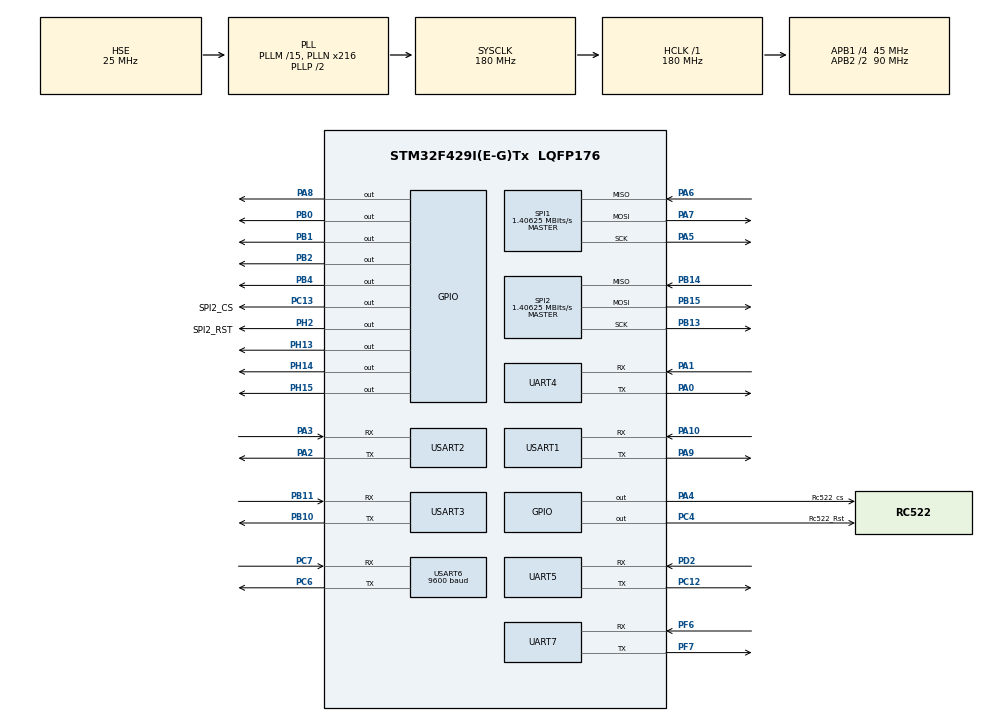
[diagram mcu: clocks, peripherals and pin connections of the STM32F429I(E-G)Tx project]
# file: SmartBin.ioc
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Dma.Request0=USART2_RX
Dma.Request1=USART3_RX
Dma.Request2=USART6_RX
Dma.Request3=UART4_RX
Dma.Request4=UART7_RX
Dma.Request5=UART5_RX
Dma.UART4_RX.3.Direction=DMA_PERIPH_TO_MEMORY
Dma.UART4_RX.3.FIFOMode=DMA_FIFOMODE_DISABLE
Dma.UART4_RX.3.Instance=DMA1_Stream2
Dma.UART4_RX.3.MemDataAlignment=DMA_MDATAALIGN_BYTE
Dma.UART4_RX.3.MemInc=DMA_MINC_ENABLE
Dma.UART4_RX.3.Mode=DMA_NORMAL
Dma.UART4_RX.3.PeriphDataAlignment=DMA_PDATAALIGN_BYTE
Dma.UART4_RX.3.PeriphInc=DMA_PINC_DISABLE
Dma.UART4_RX.3.Priority=DMA_PRIORITY_LOW
Dma.UART5_RX.5.Direction=DMA_PERIPH_TO_MEMORY
Dma.UART5_RX.5.FIFOMode=DMA_FIFOMODE_DISABLE
Dma.UART5_RX.5.Instance=DMA1_Stream0
Dma.UART5_RX.5.MemDataAlignment=DMA_MDATAALIGN_BYTE
Dma.UART5_RX.5.MemInc=DMA_MINC_ENABLE
Dma.UART5_RX.5.Mode=DMA_NORMAL
Dma.UART5_RX.5.PeriphDataAlignment=DMA_PDATAALIGN_BYTE
Dma.UART5_RX.5.PeriphInc=DMA_PINC_DISABLE
Dma.UART5_RX.5.Priority=DMA_PRIORITY_LOW
Dma.UART7_RX.4.Direction=DMA_PERIPH_TO_MEMORY
Dma.UART7_RX.4.FIFOMode=DMA_FIFOMODE_DISABLE
Dma.UART7_RX.4.Instance=DMA1_Stream3
Dma.UART7_RX.4.MemDataAlignment=DMA_MDATAALIGN_BYTE
Dma.UART7_RX.4.MemInc=DMA_MINC_ENABLE
Dma.UART7_RX.4.Mode=DMA_NORMAL
Dma.UART7_RX.4.PeriphDataAlignment=DMA_PDATAALIGN_BYTE
Dma.UART7_RX.4.PeriphInc=DMA_PINC_DISABLE
Dma.UART7_RX.4.Priority=DMA_PRIORITY_LOW
Dma.USART2_RX.0.Direction=DMA_PERIPH_TO_MEMORY
Dma.USART2_RX.0.FIFOMode=DMA_FIFOMODE_DISABLE
Dma.USART2_RX.0.Instance=DMA1_Stream5
Dma.USART2_RX.0.MemDataAlignment=DMA_MDATAALIGN_BYTE
Dma.USART2_RX.0.MemInc=DMA_MINC_ENABLE
Dma.USART2_RX.0.Mode=DMA_NORMAL
Dma.USART2_RX.0.PeriphDataAlignment=DMA_PDATAALIGN_BYTE
Dma.USART2_RX.0.PeriphInc=DMA_PINC_DISABLE
Dma.USART2_RX.0.Priority=DMA_PRIORITY_LOW
Dma.USART3_RX.1.Direction=DMA_PERIPH_TO_MEMORY
Dma.USART3_RX.1.FIFOMode=DMA_FIFOMODE_DISABLE
Dma.USART3_RX.1.Instance=DMA1_Stream1
Dma.USART3_RX.1.MemDataAlignment=DMA_MDATAALIGN_BYTE
Dma.USART3_RX.1.MemInc=DMA_MINC_ENABLE
Dma.USART3_RX.1.Mode=DMA_NORMAL
Dma.USART3_RX.1.PeriphDataAlignment=DMA_PDATAALIGN_BYTE
Dma.USART3_RX.1.PeriphInc=DMA_PINC_DISABLE
Dma.USART3_RX.1.Priority=DMA_PRIORITY_LOW
Dma.USART6_RX.2.Direction=DMA_PERIPH_TO_MEMORY
Dma.USART6_RX.2.FIFOMode=DMA_FIFOMODE_DISABLE
Dma.USART6_RX.2.Instance=DMA2_Stream1
Dma.USART6_RX.2.MemDataAlignment=DMA_MDATAALIGN_BYTE
Dma.USART6_RX.2.MemInc=DMA_MINC_ENABLE
Dma.USART6_RX.2.Mode=DMA_NORMAL
Dma.USART6_RX.2.PeriphDataAlignment=DMA_PDATAALIGN_BYTE
Dma.USART6_RX.2.PeriphInc=DMA_PINC_DISABLE
Dma.USART6_RX.2.Priority=DMA_PRIORITY_LOW
FREERTOS.Tasks01=comtask,24,2048,com_task,Default,NULL,Dynamic,NULL,NULL;systemtask,28,2048,system_task,Default,NULL,Dynamic,NULL,NULL;rec_data_task,32,2048,recdatatask,Default,NULL,Dynamic,NULL,NULL;sensortask,24,1024,sensor_task,Default,NULL,Dynamic,NULL,NULL
FREERTOS.configGENERATE_RUN_TIME_STATS=1
FREERTOS.configMAX_TASK_NAME_LEN=20
FREERTOS.configMINIMAL_STACK_SIZE=1024
FREERTOS.configTOTAL_HEAP_SIZE=40000
FREERTOS.configUSE_STATS_FORMATTING_FUNCTIONS=1
IWDG.Prescaler=IWDG_PRESCALER_256
Mcu.Family=STM32F4
Mcu.Name=STM32F429I(E-G)Tx
Mcu.Package=LQFP176
NVIC.DMA1_Stream0_IRQn=true\:5\:0\:false\:false\:true\:true\:false\:true
NVIC.DMA1_Stream1_IRQn=true\:5\:0\:false\:true\:true\:1\:true\:false\:true
NVIC.DMA1_Stream2_IRQn=true\:5\:0\:false\:true\:true\:2\:true\:false\:true
NVIC.DMA1_Stream3_IRQn=true\:5\:0\:false\:false\:true\:true\:false\:true
NVIC.DMA1_Stream5_IRQn=true\:5\:0\:false\:true\:true\:3\:true\:false\:true
NVIC.DMA2_Stream1_IRQn=true\:5\:0\:false\:true\:true\:7\:true\:false\:true
NVIC.PriorityGroup=NVIC_PRIORITYGROUP_4
NVIC.TIM1_UP_TIM10_IRQn=true\:0\:0\:false\:false\:true\:false\:false\:true
NVIC.TIM6_DAC_IRQn=true\:5\:0\:false\:true\:true\:11\:true\:true\:true
NVIC.TimeBase=TIM1_UP_TIM10_IRQn
NVIC.TimeBaseIP=TIM1
NVIC.UART4_IRQn=true\:5\:0\:false\:true\:true\:6\:true\:true\:true
NVIC.UART5_IRQn=true\:5\:0\:false\:true\:true\:10\:true\:true\:true
NVIC.UART7_IRQn=true\:5\:0\:false\:true\:true\:9\:true\:true\:true
NVIC.USART1_IRQn=true\:5\:0\:false\:false\:true\:true\:true\:true
NVIC.USART2_IRQn=true\:5\:0\:false\:true\:true\:4\:true\:true\:true
NVIC.USART3_IRQn=true\:5\:0\:false\:true\:true\:5\:true\:true\:true
NVIC.USART6_IRQn=true\:5\:0\:false\:true\:true\:8\:true\:true\:true
PA0/WKUP.Mode=Asynchronous
PA0/WKUP.Signal=UART4_TX
PA1.Mode=Asynchronous
PA1.Signal=UART4_RX
PA10.Mode=Asynchronous
PA10.Signal=USART1_RX
PA13.Mode=Serial_Wire
PA13.Signal=SYS_JTMS-SWDIO
PA14.Mode=Serial_Wire
PA14.Signal=SYS_JTCK-SWCLK
PA2.Mode=Asynchronous
PA2.Signal=USART2_TX
PA3.Mode=Asynchronous
PA3.Signal=USART2_RX
PA4.GPIO_Label=Rc522_cs
PA4.Signal=GPIO_Output
PA5.Mode=Full_Duplex_Master
PA5.Signal=SPI1_SCK
PA6.Mode=Full_Duplex_Master
PA6.Signal=SPI1_MISO
PA7.Mode=Full_Duplex_Master
PA7.Signal=SPI1_MOSI
PA8.Signal=GPIO_Output
PA9.GPIO_Speed=GPIO_SPEED_FREQ_HIGH
PA9.Mode=Asynchronous
PA9.Signal=USART1_TX
PB0.Signal=GPIO_Output
PB1.Signal=GPIO_Output
PB10.Mode=Asynchronous
PB10.Signal=USART3_TX
PB11.Mode=Asynchronous
PB11.Signal=USART3_RX
PB13.Mode=Full_Duplex_Master
PB13.Signal=SPI2_SCK
PB14.Mode=Full_Duplex_Master
PB14.Signal=SPI2_MISO
PB15.Mode=Full_Duplex_Master
PB15.Signal=SPI2_MOSI
PB2/BOOT1.Signal=GPIO_Output
PB4.Signal=GPIO_Output
PC12.Mode=Asynchronous
PC12.Signal=UART5_TX
PC13.GPIO_Label=SPI2_CS
PC13.Signal=GPIO_Output
PC14/OSC32_IN.Mode=LSE-External-Oscillator
PC14/OSC32_IN.Signal=RCC_OSC32_IN
PC15/OSC32_OUT.Mode=LSE-External-Oscillator
PC15/OSC32_OUT.Signal=RCC_OSC32_OUT
PC4.GPIO_Label=Rc522_Rst
PC4.Signal=GPIO_Output
PC6.Mode=Asynchronous
PC6.Signal=USART6_TX
PC7.Mode=Asynchronous
PC7.Signal=USART6_RX
PD2.Mode=Asynchronous
PD2.Signal=UART5_RX
PF6.Mode=Asynchronous
PF6.Signal=UART7_RX
PF7.Mode=Asynchronous
PF7.Signal=UART7_TX
PH0/OSC_IN.Mode=HSE-External-Oscillator
PH0/OSC_IN.Signal=RCC_OSC_IN
PH1/OSC_OUT.Mode=HSE-External-Oscillator
PH1/OSC_OUT.Signal=RCC_OSC_OUT
PH13.Signal=GPIO_Output
PH14.Signal=GPIO_Output
PH15.Signal=GPIO_Output
PH2.GPIO_Label=SPI2_RST
PH2.Signal=GPIO_Output
ProjectManager.HeapSize=0x200
ProjectManager.StackSize=0x400
ProjectManager.TargetToolchain=MDK-ARM V5
RCC.48MHZClocksFreq_Value=90000000
RCC.AHBFreq_Value=180000000
RCC.APB1CLKDivider=RCC_HCLK_DIV4
RCC.APB1Freq_Value=45000000
RCC.APB1TimFreq_Value=90000000
RCC.APB2CLKDivider=RCC_HCLK_DIV2
RCC.APB2Freq_Value=90000000
RCC.APB2TimFreq_Value=180000000
RCC.CortexFreq_Value=180000000
RCC.EnbaleCSS=true
RCC.HCLKFreq_Value=180000000
RCC.HSE_VALUE=25000000
RCC.HSI_VALUE=16000000
RCC.PLLM=15
RCC.PLLN=216
RCC.PLLSourceVirtual=RCC_PLLSOURCE_HSE
RCC.RCC_RTC_Clock_Source=RCC_RTCCLKSOURCE_LSE
RCC.RCC_RTC_Clock_SourceVirtual=RCC_RTCCLKSOURCE_LSE
RCC.SYSCLKFreq_VALUE=180000000
RCC.SYSCLKSource=RCC_SYSCLKSOURCE_PLLCLK
RCC.VCOOutputFreq_Value=360000000
SPI1.BaudRatePrescaler=SPI_BAUDRATEPRESCALER_64
SPI1.CalculateBaudRate=1.40625 MBits/s
SPI1.Direction=SPI_DIRECTION_2LINES
SPI1.Mode=SPI_MODE_MASTER
SPI1.VirtualType=VM_MASTER
SPI2.BaudRatePrescaler=SPI_BAUDRATEPRESCALER_32
SPI2.CalculateBaudRate=1.40625 MBits/s
SPI2.Direction=SPI_DIRECTION_2LINES
SPI2.Mode=SPI_MODE_MASTER
SPI2.VirtualType=VM_MASTER
TIM6.Period=99
TIM6.Prescaler=89
UART4.VirtualMode=Asynchronous
UART5.VirtualMode=Asynchronous
UART7.VirtualMode=Asynchronous
USART1.OverSampling=UART_OVERSAMPLING_16
USART1.VirtualMode=VM_ASYNC
USART2.VirtualMode=VM_ASYNC
USART3.VirtualMode=VM_ASYNC
USART6.BaudRate=9600
USART6.VirtualMode=VM_ASYNC
VP_FREERTOS_VS_CMSIS_V2.Mode=CMSIS_V2
VP_IWDG_VS_IWDG.Mode=IWDG_Activate
VP_RTC_VS_RTC_Activate.Mode=RTC_Enabled
VP_SYS_VS_tim1.Mode=TIM1
VP_TIM6_VS_ClockSourceINT.Mode=Enable_Timer
board=custom

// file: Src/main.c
/* USER CODE BEGIN Header */
/**
  ******************************************************************************
  * @file           : main.c
  * @brief          : Main program body
  ******************************************************************************
  * @attention
  *
  * <h2><center>&copy; Copyright (c) 2019 STMicroelectronics.
  * All rights reserved.</center></h2>
  *
  * This software component is licensed by ST under Ultimate Liberty license
  * SLA0044, the "License"; You may not use this file except in compliance with
  * the License. You may obtain a copy of the License at:
  *                             www.st.com/SLA0044
  *
  ******************************************************************************
  */
/* USER CODE END Header */

#include "main.h"
#include "cmsis_os.h"
#include "dma.h"
#include "iwdg.h"
#include "rtc.h"
#include "spi.h"
#include "tim.h"
#include "usart.h"
#include "gpio.h"

/* USER CODE BEGIN Includes */
#include "stdio.h"
#include "bsp_print.h"
#include "bsp_scaner.h"
#include "bsp_weight.h"
#include "bsp_rc522.h"
/* USER CODE END Includes */

void SystemClock_Config(void);
void MX_FREERTOS_Init(void);
static void MX_NVIC_Init(void);

/* USER CODE BEGIN 0 */
extern USART_RECEIVETYPE  UsartType3;
/* USER CODE END 0 */

int main(void)
{

  /* MCU Configuration--------------------------------------------------------*/

  /* Reset of all peripherals, Initializes the Flash interface and the Systick. */
  HAL_Init();

  /* Configure the system clock */
  SystemClock_Config();

  /* Initialize all configured peripherals */
  MX_GPIO_Init();
  MX_DMA_Init();
  MX_RTC_Init();
  MX_SPI1_Init();
  MX_UART4_Init();
  MX_USART1_UART_Init();
  MX_USART2_UART_Init();
  MX_USART3_UART_Init();
  MX_USART6_UART_Init();
  MX_SPI2_Init();
  MX_UART5_Init();
  MX_UART7_Init();
  MX_IWDG_Init();
  MX_TIM6_Init();

  /* Initialize interrupts */
  MX_NVIC_Init();
  /* USER CODE BEGIN 2 */
	 DMA_USART2_IDLE_INIT();
	 DMA_USART3_IDLE_INIT();
	 DMA_USART6_IDLE_INIT();
	 test_rc522_init();
//    HAL_Delay(5000);//等待4G模板稳定
//HAL_TIM_Base_Start_IT(&htim6);
//	 gsm_zhuce(&UsartType3.RX_flag,UsartType3.RX_pData);
  /* USER CODE END 2 */

  /* Call init function for freertos objects (in freertos.c) */
  MX_FREERTOS_Init();

  /* Start scheduler */
  osKernelStart();

  /* We should never get here as control is now taken by the scheduler */

  /* Infinite loop */
  while (1)
  {

  }
}

void SystemClock_Config(void)
{
  RCC_OscInitTypeDef RCC_OscInitStruct = {0};
  RCC_ClkInitTypeDef RCC_ClkInitStruct = {0};
  RCC_PeriphCLKInitTypeDef PeriphClkInitStruct = {0};

  /** Configure the main internal regulator output voltage
  */
  __HAL_RCC_PWR_CLK_ENABLE();
  __HAL_PWR_VOLTAGESCALING_CONFIG(PWR_REGULATOR_VOLTAGE_SCALE1);
  /** Initializes the CPU, AHB and APB busses clocks
  */
  RCC_OscInitStruct.OscillatorType = RCC_OSCILLATORTYPE_LSI|RCC_OSCILLATORTYPE_HSE
                              |RCC_OSCILLATORTYPE_LSE;
  RCC_OscInitStruct.HSEState = RCC_HSE_ON;
  RCC_OscInitStruct.LSEState = RCC_LSE_ON;
  RCC_OscInitStruct.LSIState = RCC_LSI_ON;
  RCC_OscInitStruct.PLL.PLLState = RCC_PLL_ON;
  RCC_OscInitStruct.PLL.PLLSource = RCC_PLLSOURCE_HSE;
  RCC_OscInitStruct.PLL.PLLM = 15;
  RCC_OscInitStruct.PLL.PLLN = 216;
  RCC_OscInitStruct.PLL.PLLP = RCC_PLLP_DIV2;
  RCC_OscInitStruct.PLL.PLLQ = 4;
  if (HAL_RCC_OscConfig(&RCC_OscInitStruct) != HAL_OK)
  {
    Error_Handler();
  }
  /** Activate the Over-Drive mode
  */
  if (HAL_PWREx_EnableOverDrive() != HAL_OK)
  {
    Error_Handler();
  }
  /** Initializes the CPU, AHB and APB busses clocks
  */
  RCC_ClkInitStruct.ClockType = RCC_CLOCKTYPE_HCLK|RCC_CLOCKTYPE_SYSCLK
                              |RCC_CLOCKTYPE_PCLK1|RCC_CLOCKTYPE_PCLK2;
  RCC_ClkInitStruct.SYSCLKSource = RCC_SYSCLKSOURCE_PLLCLK;
  RCC_ClkInitStruct.AHBCLKDivider = RCC_SYSCLK_DIV1;
  RCC_ClkInitStruct.APB1CLKDivider = RCC_HCLK_DIV4;
  RCC_ClkInitStruct.APB2CLKDivider = RCC_HCLK_DIV2;

  if (HAL_RCC_ClockConfig(&RCC_ClkInitStruct, FLASH_LATENCY_5) != HAL_OK)
  {
    Error_Handler();
  }
  PeriphClkInitStruct.PeriphClockSelection = RCC_PERIPHCLK_RTC;
  PeriphClkInitStruct.RTCClockSelection = RCC_RTCCLKSOURCE_LSE;
  if (HAL_RCCEx_PeriphCLKConfig(&PeriphClkInitStruct) != HAL_OK)
  {
    Error_Handler();
  }
  /** Enables the Clock Security System
  */
  HAL_RCC_EnableCSS();
}

/**
  * @brief NVIC Configuration.
  * @retval None
  */
static void MX_NVIC_Init(void)
{
  /* DMA1_Stream1_IRQn interrupt configuration */
  HAL_NVIC_SetPriority(DMA1_Stream1_IRQn, 5, 0);
  HAL_NVIC_EnableIRQ(DMA1_Stream1_IRQn);
  /* DMA1_Stream2_IRQn interrupt configuration */
  HAL_NVIC_SetPriority(DMA1_Stream2_IRQn, 5, 0);
  HAL_NVIC_EnableIRQ(DMA1_Stream2_IRQn);
  /* DMA1_Stream5_IRQn interrupt configuration */
  HAL_NVIC_SetPriority(DMA1_Stream5_IRQn, 5, 0);
  HAL_NVIC_EnableIRQ(DMA1_Stream5_IRQn);
  /* USART2_IRQn interrupt configuration */
  HAL_NVIC_SetPriority(USART2_IRQn, 5, 0);
  HAL_NVIC_EnableIRQ(USART2_IRQn);
  /* USART3_IRQn interrupt configuration */
  HAL_NVIC_SetPriority(USART3_IRQn, 5, 0);
  HAL_NVIC_EnableIRQ(USART3_IRQn);
  /* UART4_IRQn interrupt configuration */
  HAL_NVIC_SetPriority(UART4_IRQn, 5, 0);
  HAL_NVIC_EnableIRQ(UART4_IRQn);
  /* DMA2_Stream1_IRQn interrupt configuration */
  HAL_NVIC_SetPriority(DMA2_Stream1_IRQn, 5, 0);
  HAL_NVIC_EnableIRQ(DMA2_Stream1_IRQn);
  /* USART6_IRQn interrupt configuration */
  HAL_NVIC_SetPriority(USART6_IRQn, 5, 0);
  HAL_NVIC_EnableIRQ(USART6_IRQn);
  /* UART7_IRQn interrupt configuration */
  HAL_NVIC_SetPriority(UART7_IRQn, 5, 0);
  HAL_NVIC_EnableIRQ(UART7_IRQn);
  /* UART5_IRQn interrupt configuration */
  HAL_NVIC_SetPriority(UART5_IRQn, 5, 0);
  HAL_NVIC_EnableIRQ(UART5_IRQn);
  /* TIM6_DAC_IRQn interrupt configuration */
  HAL_NVIC_SetPriority(TIM6_DAC_IRQn, 5, 0);
  HAL_NVIC_EnableIRQ(TIM6_DAC_IRQn);
}

/* USER CODE BEGIN 4 */
extern uint32_t g_osRuntimeCounter;
/* USER CODE END 4 */

void HAL_TIM_PeriodElapsedCallback(TIM_HandleTypeDef *htim)
{
  if (htim->Instance == TIM1) {
    HAL_IncTick();
  }
  /* USER CODE BEGIN Callback 1 */
  if (htim->Instance == TIM6) {

     g_osRuntimeCounter ++;

}
  /* USER CODE END Callback 1 */
}

void Error_Handler(void)
{
}

/************************ (C) COPYRIGHT STMicroelectronics *****END OF FILE****/

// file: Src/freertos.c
/* USER CODE BEGIN Header */
/**
  ******************************************************************************
  * File Name          : freertos.c
  * Description        : Code for freertos applications
  ******************************************************************************
  * @attention
  *
  * <h2><center>&copy; Copyright (c) 2019 STMicroelectronics.
  * All rights reserved.</center></h2>
  *
  * This software component is licensed by ST under Ultimate Liberty license
  * SLA0044, the "License"; You may not use this file except in compliance with
  * the License. You may obtain a copy of the License at:
  *                             www.st.com/SLA0044
  *
  ******************************************************************************
  */
/* USER CODE END Header */

#include "FreeRTOS.h"
#include "task.h"
#include "main.h"
#include "cmsis_os.h"

/* USER CODE BEGIN Includes */
#include "string.h"
#include "stdio.h"
#include "bsp_print.h"
#include "bsp_gsm800a.h"
#include "md5.h"
#include "app.h"
#include "iwdg.h"
/* USER CODE END Includes */

/* USER CODE BEGIN PTD */
extern UART_HandleTypeDef huart1;

/*Define print function*/

int fputc(int ch, FILE* f)
{
    HAL_UART_Transmit(&huart1, (uint8_t*)&ch, 1, 0xffffffff);
    return ch;
}

/* USER CODE END PTD */

osThreadId_t comtaskHandle;
osThreadId_t systemtaskHandle;
osThreadId_t rec_data_taskHandle;
osThreadId_t sensortaskHandle;

/* USER CODE BEGIN FunctionPrototypes */
uint32_t g_osRuntimeCounter = 0;

/* USER CODE END FunctionPrototypes */

void com_task(void *argument);
void system_task(void *argument);
void recdatatask(void *argument);
void sensor_task(void *argument);

void MX_FREERTOS_Init(void); /* (MISRA C 2004 rule 8.1) */

/* Hook prototypes */
void configureTimerForRunTimeStats(void);
unsigned long getRunTimeCounterValue(void);

/* USER CODE BEGIN 1 */
/* Functions needed when configGENERATE_RUN_TIME_STATS is on */
__weak void configureTimerForRunTimeStats(void)
{
       g_osRuntimeCounter = 0;
}

__weak unsigned long getRunTimeCounterValue(void)
{
   return g_osRuntimeCounter;
}
/* USER CODE END 1 */

void MX_FREERTOS_Init(void) {
osKernelInitialize();

  /* Create the thread(s) */
  /* definition and creation of comtask */
  const osThreadAttr_t comtask_attributes = {
    .name = "comtask",
    .priority = (osPriority_t) osPriorityNormal,
    .stack_size = 3000
  };
  comtaskHandle = osThreadNew(com_task, NULL, &comtask_attributes);

  /* definition and creation of systemtask */
  const osThreadAttr_t systemtask_attributes = {
    .name = "systemtask",
    .priority = (osPriority_t) osPriorityNormal4,
    .stack_size = 3000
  };
  systemtaskHandle = osThreadNew(system_task, NULL, &systemtask_attributes);

  /* definition and creation of rec_data_task */
  const osThreadAttr_t rec_data_task_attributes = {
    .name = "rec_data_task",
    .priority = (osPriority_t) osPriorityAboveNormal,
    .stack_size = 3000
  };
  rec_data_taskHandle = osThreadNew(recdatatask, NULL, &rec_data_task_attributes);

  /* definition and creation of sensortask */
  const osThreadAttr_t sensortask_attributes = {
    .name = "sensortask",
    .priority = (osPriority_t) osPriorityNormal,
    .stack_size = 2048
  };
  sensortaskHandle = osThreadNew(sensor_task, NULL, &sensortask_attributes);

}

void com_task(void *argument)
{

//    char g_tasks_buf[512]; //用于存放显示数据

  /* USER CODE BEGIN com_task */

//    	 uint8_t pcWriteBuffer[500];

    /* Infinite loop */
    for(;;)
    {
        //5秒检测一下是否发送成功
//             printf("com_task\n");
//            vTaskList((char *)&g_tasks_buf);
//            printf("任务名                任务状态 优先级   剩余栈 任务序号\r\n");
//            printf("%s\r\n", g_tasks_buf);
//            vTaskGetRunTimeStats((char *)&g_tasks_buf);
//            printf("\r\n任务名            运行计数         使用率\r\n");
//            printf("%s\r\n", g_tasks_buf);
//

        resend_task();
        osDelay(1);

    }
  /* USER CODE END com_task */
}

/* USER CODE BEGIN Header_system_task */
uint8_t HTTPinit=0;
/**
* @brief Function implementing the systemtask thread.
* @param argument: Not used
* @retval None
*/
/* USER CODE END Header_system_task */
void system_task(void *argument)
{
  /* USER CODE BEGIN system_task */
    uint8_t a;
//char g_tasks_buf[512]; //用于存放显示数据
    /* Infinite loop */
    for(;;)
    {
//			   printf("system_task\n");
//            vTaskList((char *)&g_tasks_buf);
//            printf("任务名               任务状态 优先级   剩余栈 任务序号\r\n");
//            printf("%s\r\n", g_tasks_buf);

//            vTaskGetRunTimeStats((char *)&g_tasks_buf);
//            printf("\r\n任务名           运行计数         使用率\r\n");
//            printf("%s\r\n", g_tasks_buf);
        if(HTTPinit==0)
        {

            printf("nihao");
            GSM_HTTP_INIT();
            System_init_param_init();
            HTTPinit=1;
        }
        System_ilde_task();

        osDelay(1);
    }
  /* USER CODE END system_task */
}

/* USER CODE BEGIN Header_recdatatask */
extern uint8_t  sendcomd_flag;
/**
* @brief Function implementing the rec_data_task thread.
* @param argument: Not used
* @retval None
*/
/* USER CODE END Header_recdatatask */
void recdatatask(void *argument)
{
  /* USER CODE BEGIN recdatatask */
//char g_tasks_buf[512]; //用于存放显示数据
    /* Infinite loop */
    for(;;)
    {
//			   printf("recdatatask\n");
//            vTaskList((char *)&g_tasks_buf);
//            printf("任务名              任务状态 优先级   剩余栈 任务序号\r\n");
//            printf("%s\r\n", g_tasks_buf);

//            vTaskGetRunTimeStats((char *)&g_tasks_buf);
//            printf("\r\n任务名          运行计数         使用率\r\n");
//            printf("%s\r\n", g_tasks_buf);
        IWDG_Feed();
        //放所有接收数据
        if(HTTPinit==1&&sendcomd_flag==2)
        {
            all_usart_rec_data();
        }

        osDelay(1);
    }
  /* USER CODE END recdatatask */
}

void sensor_task(void *argument)
{
  /* USER CODE BEGIN sensor_task */
//	char g_tasks_buf[512]; //用于存放显示数据
  /* Infinite loop */
  for(;;)
  {
//		     printf("sensor_task\n");
//            vTaskList((char *)&g_tasks_buf);
//            printf("任务名                任务状态 优先级   剩余栈 任务序号\r\n");
//            printf("%s\r\n", g_tasks_buf);

//            vTaskGetRunTimeStats((char *)&g_tasks_buf);
//            printf("\r\n任务名            运行计数         使用率\r\n");
//            printf("%s\r\n", g_tasks_buf);
    osDelay(1);
  }
  /* USER CODE END sensor_task */
}

/************************ (C) COPYRIGHT STMicroelectronics *****END OF FILE****/
